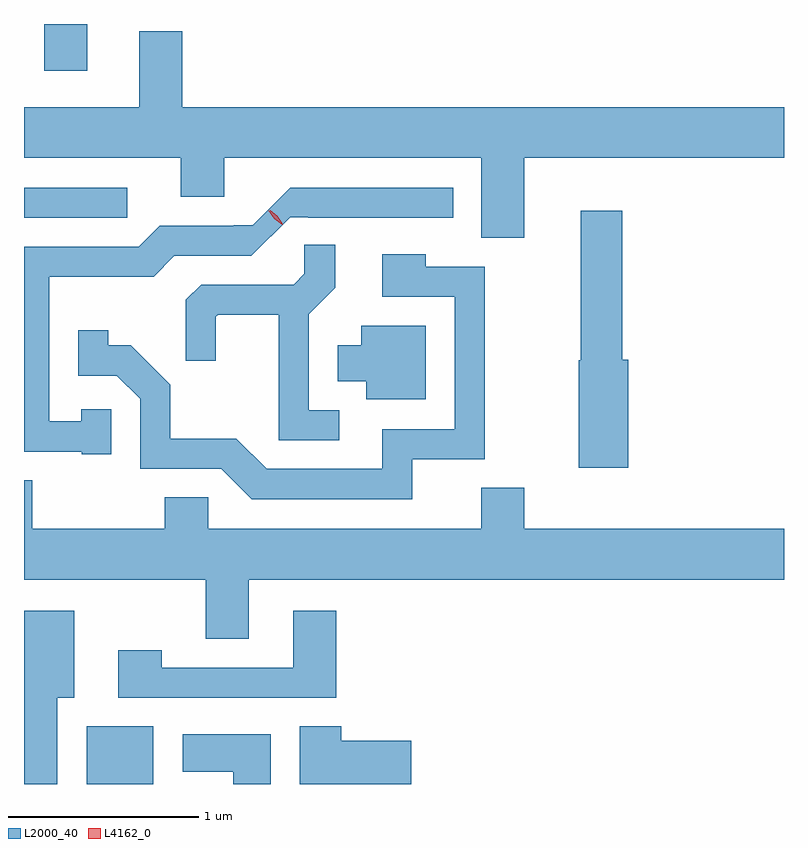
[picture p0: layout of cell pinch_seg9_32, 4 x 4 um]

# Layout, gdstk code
import gdstk
lib = gdstk.Library(unit=1e-6, precision=1e-09)
def R(c, l, rs):  # rectangles x0, y0, x1, y1
    for r in rs: c.add(gdstk.rectangle(r[:2], r[2:], *l))
def P(c, l, *ps):  # polygons
    for p in ps: c.add(gdstk.Polygon(p, *l))
L2000_40 = (2000, 40)
L4162_0 = (4162, 0)

pinch_seg9_32 = lib.new_cell('pinch_seg9_32')
R(pinch_seg9_32, L2000_40, [(639.656,2004.061,640.004,2004.364), (639.325,2007.041,639.868,2007.199), (639.431,2007.816,639.659,2008.061)])
P(pinch_seg9_32, L2000_40, [(641.959,2007.356),(643.325,2007.356),(643.325,2007.624),(640.159,2007.624),(640.159,2008.024),(639.931,2008.024),(639.931,2007.624),(639.325,2007.624),(639.325,2007.356),(640.151,2007.356),(640.151,2007.151),(640.379,2007.151),(640.379,2007.356),(641.731,2007.356),(641.731,2006.936),(641.959,2006.936)],
  [(639.784,2006.033),(639.626,2006.033),(639.626,2005.969),(639.459,2005.969),(639.459,2006.731),(640.007,2006.731),(640.117,2006.841),(640.522,2006.841),(640.726,2007.045),(640.82,2007.045),(640.82,2007.041),(641.583,2007.041),(641.583,2007.199),(640.727,2007.199),(640.53,2007.003),(640.428,2007.003),(640.428,2006.999),(640.039,2006.999),(639.929,2006.889),(639.325,2006.889),(639.325,2005.811),(639.63,2005.811),(639.63,2005.796),(639.784,2005.796)],
  [(642.504,2006.294),(642.474,2006.294),(642.474,2007.079),(642.256,2007.079),(642.256,2006.29),(642.246,2006.29),(642.246,2005.726),(642.504,2005.726)],
  [(640.983,2006.029),(640.824,2006.029),(640.824,2006.534),(640.964,2006.674),(640.964,2006.898),(640.801,2006.898),(640.801,2006.747),(640.744,2006.689),(640.257,2006.689),(640.176,2006.609),(640.176,2006.288),(640.334,2006.288),(640.334,2006.519),(640.347,2006.531),(640.666,2006.531),(640.666,2005.871),(640.983,2005.871)],
  [(641.369,2005.771),(641.749,2005.771),(641.749,2006.784),(641.439,2006.784),(641.439,2006.849),(641.211,2006.849),(641.211,2006.626),(641.591,2006.626),(641.591,2005.929),(641.211,2005.929),(641.211,2005.719),(640.602,2005.719),(640.442,2005.879),(640.094,2005.879),(640.094,2006.162),(639.887,2006.369),(639.769,2006.369),(639.769,2006.448),(639.611,2006.448),(639.611,2006.211),(639.814,2006.211),(639.936,2006.089),(639.936,2005.721),(640.364,2005.721),(640.524,2005.561),(641.369,2005.561)],
  [(641.439,2006.474),(641.101,2006.474),(641.101,2006.369),(640.976,2006.369),(640.976,2006.181),(641.126,2006.181),(641.126,2006.086),(641.439,2006.086)],
  [(640.509,2005.136),(643.325,2005.136),(643.325,2005.404),(641.959,2005.404),(641.959,2005.619),(641.731,2005.619),(641.731,2005.404),(640.294,2005.404),(640.294,2005.569),(640.066,2005.569),(640.066,2005.404),(639.369,2005.404),(639.369,2005.659),(639.325,2005.659),(639.325,2005.136),(640.281,2005.136),(640.281,2004.826),(640.509,2004.826)],
  [(640.969,2004.974),(640.741,2004.974),(640.741,2004.674),(640.049,2004.674),(640.049,2004.764),(639.821,2004.764),(639.821,2004.516),(640.969,2004.516)],
  [(639.499,2004.516),(639.589,2004.516),(639.589,2004.974),(639.325,2004.974),(639.325,2004.061),(639.499,2004.061)],
  [(641.364,2004.289),(640.994,2004.289),(640.994,2004.364),(640.776,2004.364),(640.776,2004.061),(641.364,2004.061)],
  [(640.624,2004.324),(640.161,2004.324),(640.161,2004.126),(640.426,2004.126),(640.426,2004.061),(640.624,2004.061)])
P(pinch_seg9_32, L4162_0, [(640.684,2007.011),(640.645,2007.04),(640.619,2007.082),(640.619,2007.082),(640.62,2007.082),(640.659,2007.053),(640.685,2007.012),(640.685,2007.011)],
  [(640.685,2007.005),(640.641,2007.036),(640.611,2007.081),(640.611,2007.082),(640.611,2007.082),(640.655,2007.05),(640.686,2007.006),(640.686,2007.005)])

lib.write_gds('pinch_seg9_32.gds')
